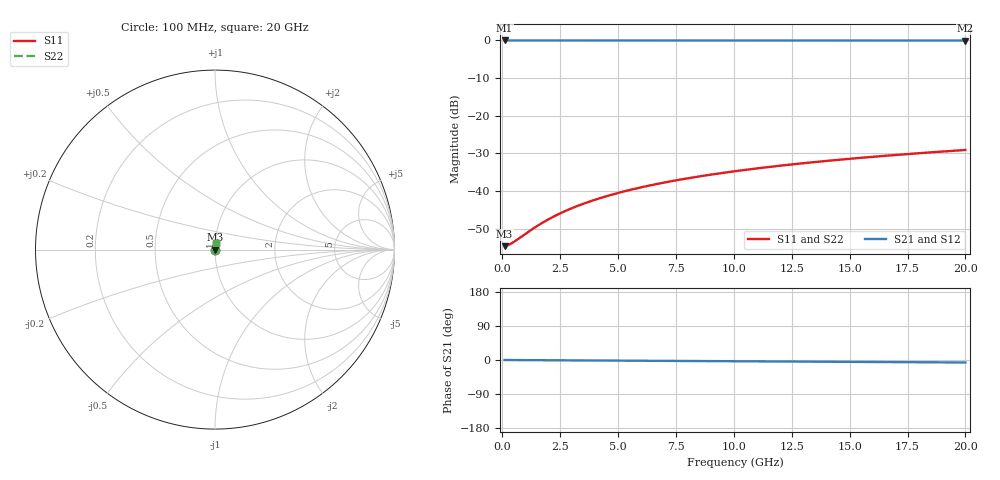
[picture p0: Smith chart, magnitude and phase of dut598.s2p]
! Touchstone file exported from HFSS 2026.1.0
!  File:  C:/ffzhzh/LocalFiles/Ansys_Project_Files/temp_train_TSV_598_1783025390_55676.aedt
!  Generated:  04:52:53 AM Jul  3, 2026
!  Design:  TSV
!  Project:  temp_train_TSV_598_1783025390_55676
! Variables:
!  h_bsmrdl = 2um
!  h_ox = 20um
!  h_rdl = 5um
!  h_sub = 67.53um
!  h_tmrdl = 5um
!  h_tsv = 67.53um
!  h_via = 3um
!  l_bsmrdl = 300um
!  l_sub = 404.12um
!  l_tmrdl = 200um
!  m_sub = 200um
!  pitch = 13.21um
!  r_tsv = 2.06um
!  s_tmrdl = 10um
!  w_bsmrdl = 18um
!  w_sub = 500um
!  w_tmrdl = 12um
!  x_tsv_center1 = 206um
!  x_tsv_center2 = 524um
!  x_tsv_center3 = 736um
!  x_tsv_center4 = 1054um
!  x_tsv_center5 = 1266um
!  x_tsv_center6 = 1584um
# GHz S MA R 50.000000
! Terminal data exported
! Port[1] = TSV1_1_T1
! Port[2] = TSV1_1_T2
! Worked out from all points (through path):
!   200 points, 100 MHz to 20 GHz, reference 50 ohm
!   highest |S21| = -0.02 dB at 100 MHz (marker M1); lowest = 0.0 dB at 20 GHz (marker M2)
!   lowest |S11| = -54.7 dB at 100 MHz (marker M3), VSWR 1.00, Z = 50.2 + j0.0197 ohm
!   |S11| at or under -10 dB: start of sweep to end of sweep
!   |S22| runs from -54.7 to -29.1 dB; largest |S21 - S12| = 4.4e-15
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0.1  0.001848 6.1  0.9982 -0.0  0.9982 -0.0  0.001848 6.1
! Gamma 0 0 0 0
! Port Impedance 50 0 50 0
0.2  0.001883 12.0  0.9982 -0.1  0.9982 -0.1  0.001883 12.0
0.4  0.002016 22.7  0.9981 -0.1  0.9981 -0.1  0.002016 22.7
0.6  0.002208 31.5  0.9981 -0.2  0.9981 -0.2  0.002208 31.5
1.4  0.00327 53.0  0.9981 -0.5  0.9981 -0.5  0.00327 53.0
1.7  0.003731 57.7  0.998 -0.6  0.998 -0.6  0.003731 57.7
2  0.004211 61.3  0.998 -0.7  0.998 -0.7  0.004211 61.3
2.3  0.004706 64.1  0.998 -0.8  0.998 -0.8  0.004706 64.1
2.7  0.00538 67.1  0.998 -0.9  0.998 -0.9  0.00538 67.1
3.1  0.006066 69.3  0.9979 -1.0  0.9979 -1.0  0.006066 69.3
3.5  0.006761 71.0  0.9979 -1.2  0.9979 -1.2  0.006761 71.0
4.2  0.00799 73.2  0.9979 -1.4  0.9979 -1.4  0.00799 73.2
5  0.009404 74.9  0.9978 -1.7  0.9978 -1.7  0.009404 74.9
5.9  0.011 76.2  0.9977 -2.0  0.9977 -2.0  0.011 76.2
6.8  0.01259 77.0  0.9976 -2.3  0.9976 -2.3  0.01259 77.0
8.3  0.01524 77.7  0.9974 -2.8  0.9974 -2.8  0.01524 77.7
10.1  0.01838 78.1  0.9971 -3.4  0.9971 -3.4  0.01838 78.1
11.7  0.02115 78.1  0.9968 -3.9  0.9968 -3.9  0.02115 78.1
13.4  0.02405 77.9  0.9965 -4.4  0.9965 -4.4  0.02405 77.9
15  0.02675 77.7  0.9962 -5.0  0.9962 -5.0  0.02675 77.7
16.7  0.02959 77.4  0.9959 -5.5  0.9959 -5.5  0.02959 77.4
20  0.03501 76.8  0.9953 -6.6  0.9953 -6.6  0.03501 76.8
